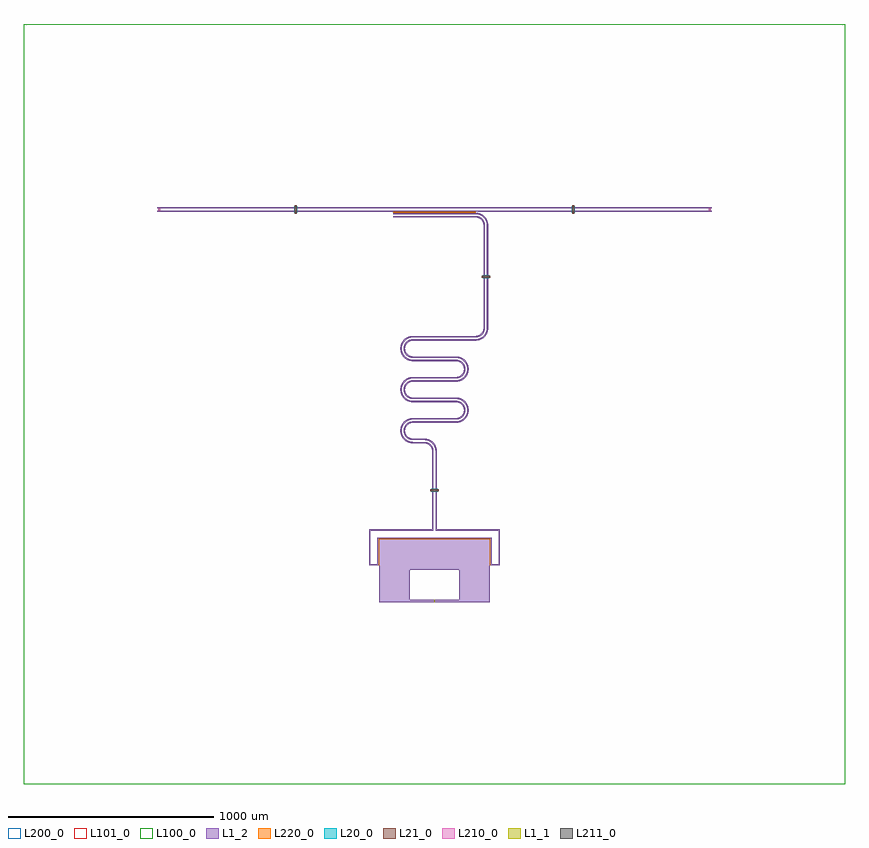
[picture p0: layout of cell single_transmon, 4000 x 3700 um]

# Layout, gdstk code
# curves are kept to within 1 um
import gdstk
lib = gdstk.Library(unit=1e-6, precision=1e-09)
def R(c, l, rs):  # rectangles x0, y0, x1, y1
    for r in rs: c.add(gdstk.rectangle(r[:2], r[2:], *l))
def P(c, l, *ps):  # polygons
    for p in ps: c.add(gdstk.Polygon(p, *l))
L1_1 = (1, 1)
L1_2 = (1, 2)
L20_0 = (20, 0)
L21_0 = (21, 0)
L100_0 = (100, 0)
L101_0 = (101, 0)
L200_0 = (200, 0)
L210_0 = (210, 0)
L211_0 = (211, 0)
L220_0 = (220, 0)

single_transmon = lib.new_cell('single_transmon')
R(single_transmon, L1_1, [(-0.5,0,0.5,5.5), (-0.5,6.5,0.5,12)])
R(single_transmon, L1_2, [(-11,356,-5,736), (5,356,11,736), (-104.898,775,-50,781), (-104.898,791,-50,797), (-104.898,875,104.898,881), (-104.898,891,104.898,897), (-104.898,975,104.898,981), (-104.898,991,104.898,997), (-104.898,1075,104.898,1081), (-104.898,1091,104.898,1097), (-104.898,1175,104.898,1181), (-104.898,1191,104.898,1197), (-104.898,1275,200,1281), (-104.898,1291,200,1297), (239,1336,245,1836), (255,1336,261,1836), (-200,1875,200,1881), (-200,1891,200,1897), (-1350,1902,0,1908), (0,1902,1350,1908), (-1350,1918,0,1924), (0,1918,1350,1924)])
P(single_transmon, L1_2, [(-318,356),(-318,181),(-272,181),(-272,310),(-278,310),(-278,187),(-312,187),(-312,350),(-5,350),(-5,356)],
  [(272,181),(318,181),(318,310),(312,310),(312,187),(278,187),(278,316),(-278,316),(-278,310),(272,310)],
  [(312,310),(318,310),(318,356),(5,356),(5,350),(312,350)],
  [(200,1875),(206.627,1874.433),(213.478,1872.597),(219.883,1869.551),(225.631,1865.395),(231.342,1859.21),(235.592,1851.944),(238.184,1843.935),(239,1836),(245,1836),(244.059,1845.156),(241.068,1854.397),(236.163,1862.781),(229.574,1869.917),(219.327,1876.638),(207.646,1880.346),(200,1881)],
  [(200,1891),(209.961,1890.09),(219.593,1887.392),(228.577,1882.993),(236.616,1877.04),(244.2,1868.732),(250.194,1858.485),(253.85,1847.19),(255,1836),(261,1836),(259.579,1849.09),(255.67,1860.938),(249.432,1871.742),(241.126,1881.052),(228.679,1889.838),(214.443,1895.266),(200,1897)],
  [(239,1336),(238.433,1329.373),(236.597,1322.522),(233.551,1316.117),(229.395,1310.369),(223.21,1304.658),(215.944,1300.408),(207.935,1297.816),(200,1297),(200,1291),(209.156,1291.941),(218.397,1294.932),(226.781,1299.837),(233.917,1306.426),(240.638,1316.673),(244.346,1328.354),(245,1336)],
  [(255,1336),(254.09,1326.039),(251.392,1316.407),(246.993,1307.423),(241.04,1299.384),(232.732,1291.8),(222.485,1285.806),(211.19,1282.15),(200,1281),(200,1275),(213.09,1276.421),(224.938,1280.33),(235.742,1286.568),(245.052,1294.874),(253.838,1307.321),(259.266,1321.557),(261,1336)],
  [(-104.898,1297),(-117.354,1295.715),(-128.644,1292.189),(-139.041,1286.55),(-148.155,1279.01),(-155.642,1269.854),(-161.221,1259.424),(-164.683,1248.114),(-165.897,1236.348),(-164.818,1224.57),(-161.485,1213.221),(-155.642,1202.146),(-148.155,1192.99),(-139.041,1185.45),(-128.644,1179.811),(-117.354,1176.285),(-104.898,1175),(-104.898,1181),(-116.128,1182.159),(-126.885,1185.586),(-137.226,1191.504),(-145.631,1199.042),(-151.67,1207.062),(-156.151,1216.046),(-158.924,1225.694),(-159.897,1235.686),(-158.924,1246.306),(-156.151,1255.954),(-151.67,1264.938),(-145.631,1272.958),(-137.226,1280.496),(-126.885,1286.414),(-116.128,1289.841),(-104.898,1291)],
  [(-104.898,1281),(-114.087,1280.052),(-122.415,1277.451),(-130.086,1273.291),(-136.809,1267.729),(-142.332,1260.974),(-146.448,1253.28),(-149.002,1244.937),(-149.898,1236.257),(-149.101,1227.568),(-146.643,1219.196),(-142.615,1211.455),(-136.809,1204.271),(-130.086,1198.709),(-122.415,1194.549),(-114.087,1191.948),(-104.898,1191),(-104.898,1197),(-113.297,1197.915),(-120.897,1200.432),(-128.181,1204.712),(-134.372,1210.46),(-138.524,1216.243),(-141.4,1222.267),(-143.288,1229.13),(-143.898,1235.777),(-143.364,1242.431),(-141.555,1249.316),(-138.524,1255.757),(-134.372,1261.54),(-128.181,1267.288),(-120.897,1271.568),(-113.297,1274.085),(-104.898,1275)],
  [(104.898,1175),(112.425,1174.267),(120.08,1171.924),(126.727,1168.319),(132.554,1163.498),(137.341,1157.644),(140.908,1150.976),(143.121,1143.745),(143.898,1136.223),(143.364,1129.569),(141.555,1122.684),(138.524,1116.243),(134.372,1110.46),(128.181,1104.712),(120.897,1100.432),(113.297,1097.915),(104.898,1097),(104.898,1091),(114.087,1091.948),(122.415,1094.549),(130.086,1098.709),(136.809,1104.271),(142.332,1111.026),(146.448,1118.72),(149.002,1127.063),(149.898,1135.743),(149.002,1144.937),(146.043,1154.225),(141.152,1162.658),(134.561,1169.84),(124.291,1176.607),(112.572,1180.341),(104.898,1181)],
  [(104.898,1191),(115.513,1189.966),(126.308,1186.662),(135.683,1181.578),(143.9,1174.78),(150.651,1166.524),(155.682,1157.12),(158.803,1146.922),(159.897,1136.314),(158.924,1125.694),(156.151,1116.046),(151.67,1107.062),(145.631,1099.042),(137.226,1091.504),(126.885,1085.586),(116.128,1082.159),(104.898,1081),(104.898,1075),(117.354,1076.285),(128.644,1079.811),(139.041,1085.45),(148.155,1092.99),(155.642,1102.146),(161.221,1112.576),(164.683,1123.886),(165.897,1135.652),(164.541,1148.796),(160.672,1160.705),(154.452,1171.572),(146.145,1180.941),(133.673,1189.787),(119.392,1195.253),(104.898,1197)],
  [(-104.898,1097),(-117.354,1095.715),(-128.644,1092.189),(-139.041,1086.55),(-148.155,1079.01),(-155.642,1069.854),(-161.221,1059.424),(-164.683,1048.114),(-165.897,1036.348),(-164.818,1024.57),(-161.485,1013.221),(-155.642,1002.146),(-148.155,992.99),(-139.041,985.45),(-128.644,979.811),(-117.354,976.285),(-104.898,975),(-104.898,981),(-116.128,982.159),(-126.885,985.586),(-137.226,991.504),(-145.631,999.042),(-151.67,1007.062),(-156.151,1016.046),(-158.924,1025.694),(-159.897,1035.686),(-158.924,1046.306),(-156.151,1055.954),(-151.67,1064.938),(-145.631,1072.958),(-137.226,1080.496),(-126.885,1086.414),(-116.128,1089.841),(-104.898,1091)],
  [(-104.898,1081),(-114.087,1080.052),(-122.415,1077.451),(-130.086,1073.291),(-136.809,1067.729),(-142.332,1060.974),(-146.448,1053.28),(-149.002,1044.937),(-149.898,1036.257),(-149.101,1027.568),(-146.643,1019.196),(-142.615,1011.455),(-136.809,1004.271),(-130.086,998.709),(-122.415,994.549),(-114.087,991.948),(-104.898,991),(-104.898,997),(-113.297,997.915),(-120.897,1000.432),(-128.181,1004.712),(-134.372,1010.46),(-138.524,1016.243),(-141.4,1022.267),(-143.288,1029.13),(-143.898,1035.777),(-143.364,1042.431),(-141.555,1049.316),(-138.524,1055.757),(-134.372,1061.54),(-128.181,1067.288),(-120.897,1071.568),(-113.297,1074.085),(-104.898,1075)],
  [(104.898,975),(112.425,974.267),(120.08,971.924),(126.727,968.319),(132.554,963.498),(137.341,957.644),(140.908,950.976),(143.121,943.745),(143.898,936.223),(143.364,929.569),(141.555,922.684),(138.524,916.243),(134.372,910.46),(128.181,904.712),(120.897,900.432),(113.297,897.915),(104.898,897),(104.898,891),(114.087,891.948),(122.415,894.549),(130.086,898.709),(136.809,904.271),(142.332,911.026),(146.448,918.72),(149.002,927.063),(149.898,935.743),(149.002,944.937),(146.043,954.225),(141.152,962.658),(134.561,969.84),(124.291,976.607),(112.572,980.341),(104.898,981)],
  [(104.898,991),(115.513,989.966),(126.308,986.662),(135.683,981.578),(143.9,974.78),(150.651,966.524),(155.682,957.12),(158.803,946.922),(159.897,936.314),(158.924,925.694),(156.151,916.046),(151.67,907.062),(145.631,899.042),(137.226,891.504),(126.885,885.586),(116.128,882.159),(104.898,881),(104.898,875),(117.354,876.285),(128.644,879.811),(139.041,885.45),(148.155,892.99),(155.642,902.146),(161.221,912.576),(164.683,923.886),(165.897,935.652),(164.541,948.796),(160.672,960.705),(154.452,971.572),(146.145,980.941),(133.673,989.787),(119.392,995.253),(104.898,997)],
  [(-104.898,897),(-117.354,895.715),(-128.644,892.189),(-139.041,886.55),(-148.155,879.01),(-155.642,869.854),(-161.221,859.424),(-164.683,848.114),(-165.897,836.348),(-164.818,824.57),(-161.485,813.221),(-155.642,802.146),(-148.155,792.99),(-139.041,785.45),(-128.644,779.811),(-117.354,776.285),(-104.898,775),(-104.898,781),(-116.128,782.159),(-126.885,785.586),(-137.226,791.504),(-145.631,799.042),(-151.67,807.062),(-156.151,816.046),(-158.924,825.694),(-159.897,835.686),(-158.924,846.306),(-156.151,855.954),(-151.67,864.938),(-145.631,872.958),(-137.226,880.496),(-126.885,886.414),(-116.128,889.841),(-104.898,891)],
  [(-104.898,881),(-114.087,880.052),(-122.415,877.451),(-130.086,873.291),(-136.809,867.729),(-142.332,860.974),(-146.448,853.28),(-149.002,844.937),(-149.898,836.257),(-149.101,827.568),(-146.643,819.196),(-142.615,811.455),(-136.809,804.271),(-130.086,798.709),(-122.415,794.549),(-114.087,791.948),(-104.898,791),(-104.898,797),(-113.297,797.915),(-120.897,800.432),(-128.181,804.712),(-134.372,810.46),(-138.524,816.243),(-141.4,822.267),(-143.288,829.13),(-143.898,835.777),(-143.364,842.431),(-141.555,849.316),(-138.524,855.757),(-134.372,861.54),(-128.181,867.288),(-120.897,871.568),(-113.297,874.085),(-104.898,875)],
  [(-50,775),(-43.373,774.433),(-36.522,772.597),(-30.117,769.551),(-24.369,765.395),(-18.658,759.21),(-14.408,751.944),(-11.816,743.935),(-11,736),(-5,736),(-5.941,745.156),(-8.932,754.397),(-13.837,762.781),(-20.426,769.917),(-30.673,776.638),(-42.354,780.346),(-50,781)],
  [(-50,791),(-40.039,790.09),(-30.407,787.392),(-21.423,782.993),(-13.384,777.04),(-5.8,768.732),(0.194,758.485),(3.85,747.19),(5,736),(11,736),(9.579,749.09),(5.67,760.938),(-0.568,771.742),(-8.874,781.052),(-21.321,789.838),(-35.557,795.266),(-50,797)],
  [(270,308),(-270,308),(-270,0),(-120,0),(-120,12),(-120,158),(120,158),(120,12),(-120,12),(-120,0),(270,0)])
R(single_transmon, L20_0, [(-16,538,16,554), (234,1578,266,1594), (-683,1897,-667,1929), (667,1897,683,1929)])
R(single_transmon, L21_0, [(-21,541,21,551), (229,1581,271,1591), (-680,1892,-670,1934), (670,1892,680,1934)])
R(single_transmon, L100_0, [(-2000,-884,2000,2816)])
R(single_transmon, L101_0, [(-2000,-884,2000,2816)])
R(single_transmon, L200_0, [(-2000,-884,2000,2816)])
R(single_transmon, L210_0, [(-1345,1908,-1335,1918), (-1345,1908,-1335,1918), (1335,1908,1345,1918), (1335,1908,1345,1918)])
R(single_transmon, L211_0, [(-0.5,5.5,0.5,6.5), (-0.5,5.5,0.5,6.5)])
R(single_transmon, L220_0, [(-200,1897,200,1902)])
P(single_transmon, L220_0, [(-270,181),(-270,308),(270,308),(270,181),(272,181),(272,310),(-272,310),(-272,181)])

lib.write_gds('single_transmon.gds')
